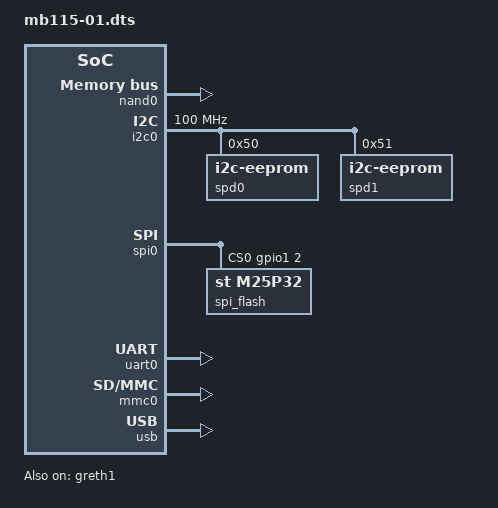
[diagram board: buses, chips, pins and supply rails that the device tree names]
#include <dt-bindings/gpio/gpio.h>
#include "1888tx018-pinfunc.h"

/dts-v1/;
/
	{
	compatible = "rcm,1888tx018";
	#address-cells = <1>;
	#size-cells = <1>;

    config {
           u-boot,spl-payload-offset = <0x40000>; 
    };

	chosen {
		stdout-path = "uart0";
		spd0-path = "spd0";
		spd1-path = "spd1";
	};

	aliases {
		spi0 = &spi0;
		mmc0 = &mmc0;
		uart0 = &uart0;
		spd0 = &spd0;
		spd1 = &spd1;
	};

	lsif0 {
	    u-boot,dm-pre-reloc;
	    compatible = "simple-bus";
		reg = <0x3C03F000 0x1000>;
		reg-names = "ctrlreg";

		#address-cells = <1>;
		#size-cells = <1>;

		mgpio0: mgpio0@0x3C040000 {
		    compatible = "rcm,pl061";
		    #address-cells = <1>;
		    #size-cells = <0>;
		    reg = <0x3C040000 0x1000>;
			pinctrl {
					compatible = "rcm,pl061-pinctrl";
					
					pinctrl_greth0_1_default: greth0_1_default {
						pinmux = 	<GBETH0_RX_DV>,
									<GBETH0_RX_ER>,
									<GBETH0_RX_COL>,
									<GBETH0_RX_CRS>,
									<GBETH0_RXD0>,
									<GBETH0_RXD1>,
									<GBETH0_RXD2>,
									<GBETH0_RXD3>;
					};
			};
		};

		mgpio1: mgpio1@0x3C041000 {
		    compatible = "rcm,pl061";
		    #address-cells = <1>;
		    #size-cells = <0>;
		    reg = <0x3C041000 0x1000>;
			pinctrl {
					compatible = "rcm,pl061-pinctrl";
					
					pinctrl_greth0_2_default: greth0_2_default {
						pinmux = 	<GBETH0_RXD4>,
									<GBETH0_RXD5>,
									<GBETH0_RXD6>,
									<GBETH0_RXD7>;
					};
			};
		};

		mgpio3: mgpio3@0x3C043000 {
			compatible = "rcm,pl061";
		    #address-cells = <1>;
		    #size-cells = <0>;
		    reg = <0x3C043000 0x1000>;
			pinctrl {
					compatible = "rcm,pl061-pinctrl";
					
					pinctrl_nand0_1_default: nand0_1_default {
						pinmux = 	<NAND_D0>,
									<NAND_D1>,
									<NAND_D2>,
									<NAND_D3>,
									<NAND_D4>,
									<NAND_D5>,
									<NAND_D6>,
									<NAND_D7>;
					};
			};
		};

		mgpio4: mgpio4@0x3C044000 {
		    compatible = "rcm,pl061";
		    #address-cells = <1>;
		    #size-cells = <0>;
		    reg = <0x3C044000 0x1000>;
			pinctrl {
					compatible = "rcm,pl061-pinctrl";
					
					pinctrl_greth0_3_default: greth0_3_default {
						pinmux = 	<GBETH0_TX_EN>,
									<GBETH0_TX_ER>,
									<GBETH0_TXD0>,
									<GBETH0_TXD1>;
					};

					pinctrl_nand0_2_default: nand0_2_default {
						pinmux =	<NAND_READY1N>,
									<NAND_READY2N>;
					};
			};
		};

		mgpio5: mgpio5@0x3C045000 {
		    compatible = "rcm,pl061";
		    #address-cells = <1>;
		    #size-cells = <0>;
		    reg = <0x3C045000 0x1000>;
			pinctrl {
					compatible = "rcm,pl061-pinctrl";
					
					pinctrl_greth0_4_default: greth0_4_default {
						pinmux = 	<GBETH0_TXD2>,
									<GBETH0_TXD3>,
									<GBETH0_TXD4>,
									<GBETH0_TXD5>,
									<GBETH0_TXD6>,
									<GBETH0_TXD7>,
									<GBETH0_MDC>,
									<GBETH0_MDIO>;
					};
			};
		};

		mgpio7: mgpio7@0x3C047000 {
		    compatible = "rcm,pl061";
		    #address-cells = <1>;
		    #size-cells = <0>;
			reg = <0x3C047000 0x1000>;
			pinctrl {
					compatible = "rcm,pl061-pinctrl";
					
					pinctrl_nand0_3_default: nand0_3_default {
						pinmux =	<NAND_REN>,
									<NAND_CLE>,
									<NAND_CE2N>,
									<NAND_CE1N>;
					};
			};
		};

		mgpio8: mgpio8@0x3C048000 {
		    compatible = "rcm,pl061";
		    #address-cells = <1>;
		    #size-cells = <0>;
			reg = <0x3C048000 0x1000>;
			pinctrl {
					compatible = "rcm,pl061-pinctrl";

					pinctrl_nand0_4_default: nand0_4_default {
						pinmux =	<NAND_ALE>,
									<NAND_WEN>,
									<NAND_WPN>;
					};
			};
		};

		greth1: greth0@0x3C034000 {
			compatible = "rcm,greth";
            reg = <0x3C034000 0x1000>;			
			mac-address = [ EC 17 66 77 05 80 ]; /* [ EC 17 66 77 05 00 ];*/
			//pinctrl-names = "default";
			//pinctrl-0 = <&pinctrl_greth0_1_default>, <&pinctrl_greth0_2_default>, <&pinctrl_greth0_3_default>, <&pinctrl_greth0_4_default>;
			status = "okay";
		};

		nand0: nand0@0x3C032000 {
			compatible = "rcm,nand";
			#address-cells = <1>;
			#size-cells = <1>;
			reg = <0x3C032000 0x1000>;
			ranges = <0x00000000 0x20000000 0x20000000>;
			clock-frequency = <100000000>;
			config-reg = <0x3C03F000 0x1000>;
			pinctrl-names = "default";
			pinctrl-0 = <&pinctrl_nand0_1_default>, <&pinctrl_nand0_2_default>, <&pinctrl_nand0_3_default>, <&pinctrl_nand0_4_default>;
			status = "okay";
			timings = < 200		/* tADL_min (ONFI_2_0_Gold.pdf,page 47)*/
						20		/* tALH_min */
						50		/* tALS_min */
						20		/* tCH_min */
						20		/* tCLH_min */
						50		/* tCLS_min */
						70		/* tCS_min */
						20		/* tDH_min */
						40		/* tDS_min */
						100		/* tWC_min */
						30		/* tWH_min */
						50		/* tWP_min */
						100		/* tWW_min */
						25		/* tAR_min */
						20		/* tCLR_min */
						0		/* tCOH_min */
						10		/* tIR_min */
						100		/* tRC_min */
						30		/* tREH_min */
						0		/* tRHOH_min */
						200		/* tRHW_min */
						0		/* tRLOH_min */
						50		/* tRP_min */
						40		/* tRR_min */
						120		/* tWHR_min */
						100		/* tCEA_max */
						100		/* tCHZ_max */
						40		/* tREA_max */
						200		/* tRHZ_max */
						200 >;  /* tWB_max */
			/*interrupt-parent = <&MPIC>;*/
			/*interrupts = <109 0>;*/
		};
	};

	lsif1 {
	    u-boot,dm-pre-reloc;
	    compatible = "simple-bus";
		reg = <0x3C060000 0x1000>;
		reg-names = "ctrlreg";
		#address-cells = <1>;
		#size-cells = <1>;

		mgpio2_1: mgpio2_1@0x3C069000 {
		    compatible = "rcm,pl061";
			u-boot,dm-pre-reloc;
		    #address-cells = <1>;
		    #size-cells = <0>;
		    reg = <0x3C069000 0x1000>;

			pinctrl {
					compatible = "rcm,pl061-pinctrl";
					pinctrl_uart0_default: uart0_default {
						u-boot,dm-pre-reloc;
						pinmux = 	<UART0_RXD>,
									<UART0_TXD>;
					};					
			};					
		};

		mgpio3_1: mgpio3_1@0x3C06A3000 {
		    compatible = "rcm,pl061";
		    #address-cells = <1>;
		    #size-cells = <0>;
		    reg = <0x3C06A000 0x1000>;
		    u-boot,dm-pre-reloc;
		
			pinctrl {
				    u-boot,dm-pre-reloc;
					compatible = "rcm,pl061-pinctrl";

					pinctrl_spi0_default: spi0_default {
						u-boot,dm-pre-reloc;
						pinmux = 	<SPI0_SCLK>,
									<SPI0_MOSI>,
									<SPI0_MISO>;
					};					

					pinctrl_uart1_default: uart1_default {
						pinmux = 	<UART1_RXD>,
									<UART1_TXD>;
					};

					pinctrl_uart2_default: uart2_default {
						pinmux = 	<UART2_RXD>,
									<UART2_TXD>;
					};										
								
			};

		};
		mgpio4_1: mgpio4_1@0x3C06B000 {
		    compatible = "rcm,pl061";
		    #address-cells = <1>;
		    #size-cells = <0>;
		    reg = <0x3C06B000 0x1000>;
			u-boot,dm-pre-reloc;
		
			pinctrl {
					compatible = "rcm,pl061-pinctrl";
					u-boot,dm-pre-reloc;
					pinctrl_spi1_default: spi1_default {
						u-boot,dm-pre-reloc;

						pinmux = 	<SPI1_SCLK>,
									<SPI1_MOSI>,
									<SPI1_MISO>;
					};		

					pinctrl_sdio_default: sdio_default {
						u-boot,dm-pre-reloc;
						pinmux = 	<SDIO_CMD>,
									<SDIO_D0>,
									<SDIO_D1>,
									<SDIO_D2>,
									<SDIO_D3>;
					};					
					
			};

		};

		i2c0: i2c@0x3C05A000 {
			compatible = "rcm,i2cmst";
		    #address-cells = <1>;
		    #size-cells = <0>;
			reg = <0x3C05A000 0x1000>;
			reg-shift = <2>;
			reg-io-width = <4>;
			clock-frequency = <100000000>;
			bus-clock = <100000>;
			u-boot,dm-pre-reloc;

			spd0: spd@50 {
				compatible = "i2c-eeprom";
				reg = <0x50>;
				u-boot,dm-pre-reloc;
			};
			spd1: spd@51 {
				compatible = "i2c-eeprom";
				reg = <0x51>;
				u-boot,dm-pre-reloc;
			};
		};

		gpio0: gpio0@0x3C065000 	{
		    compatible = "rcm,pl061";
		    #address-cells = <1>;
		    #size-cells = <0>;
		    reg = <0x3C065000 0x1000>;

			u-boot,dm-pre-reloc;
		};

		gpio1: gpio1@0x3C066000 	{
		    compatible = "rcm,pl061";
		    #address-cells = <1>;
		    #size-cells = <0>;
		    reg = <0x3C066000 0x1000>;
			#gpio-cells = <2>;
			gpio-controller;

			u-boot,dm-pre-reloc;
		};

	    spi0: spi0@0x3C061000 {
		    compatible = "rcm,pl022-spi";
			pinctrl-names = "default";
			pinctrl-0 = <&pinctrl_spi0_default>;
			
		    #address-cells = <1>;
		    #size-cells = <0>;
		    reg = <0x3C061000 0x1000>;
		    cs-gpios = <&gpio1 2 0>, <0>, <0>, <0>;
		    spi-max-frequency = <12500000>;			
		    u-boot,dm-pre-reloc;

		    spi_flash@0 {
			    compatible = "st,m25p32", "spi-flash";
			    reg = <0>;
			    u-boot,dm-pre-reloc;
								
		    };
	    };

		uart0: uart0@3C05D000 {  /* console */
                compatible = "arm,pl011", "arm,primecell";
                reg = <0x3C05D000 0x1000>;
                clock = <100000000>;
				pinctrl-names = "default";
				pinctrl-0 = <&pinctrl_uart0_default>;

 			    u-boot,dm-pre-reloc;
		};		

		uart1: uart1@3C05E000 { 
                compatible = "arm,pl011", "arm,primecell";
                reg = <0x3C05E000 0x1000>;
                clock = <100000000>;
				pinctrl-names = "default";
				pinctrl-0 = <&pinctrl_uart1_default>;
				status = "disabled";
		};		


		mmc0: mmc0@0x3C064000 {
			compatible = "rcm,mmc-0.2";
			reg = <0x3C064000 0x1000>;
			carddetect-gpio = <&gpio1 1 0>;
			/*u-boot,dm-pre-reloc;*/
			status = "okay";
			pinctrl-names = "default";
			pinctrl-0 = <&pinctrl_sdio_default>;
		};


        usb: musb@0x3C06D000 {
                compatible = "rcm,musb";
                reg = <0x3C06C000 0x1000>,
					  <0x3C06D000 0x1000>,
					  <0x38000008 0x4>;
                reg-names = "phy", "mc", "control";
        };

	    spi1: spi1@0x3C062000 {
		    compatible = "rcm,pl022-spi";
			pinctrl-names = "default";
			pinctrl-0 = <&pinctrl_spi1_default>;
			
		    #address-cells = <1>;
		    #size-cells = <1>;
		    reg = <0x3C062000 0x1000>;
		    cs-gpios = <&gpio1 4 0>;
		    spi-max-frequency = <400000>;
			u-boot,dm-pre-reloc;
			status = "disabled";
	    };	
	};
};
